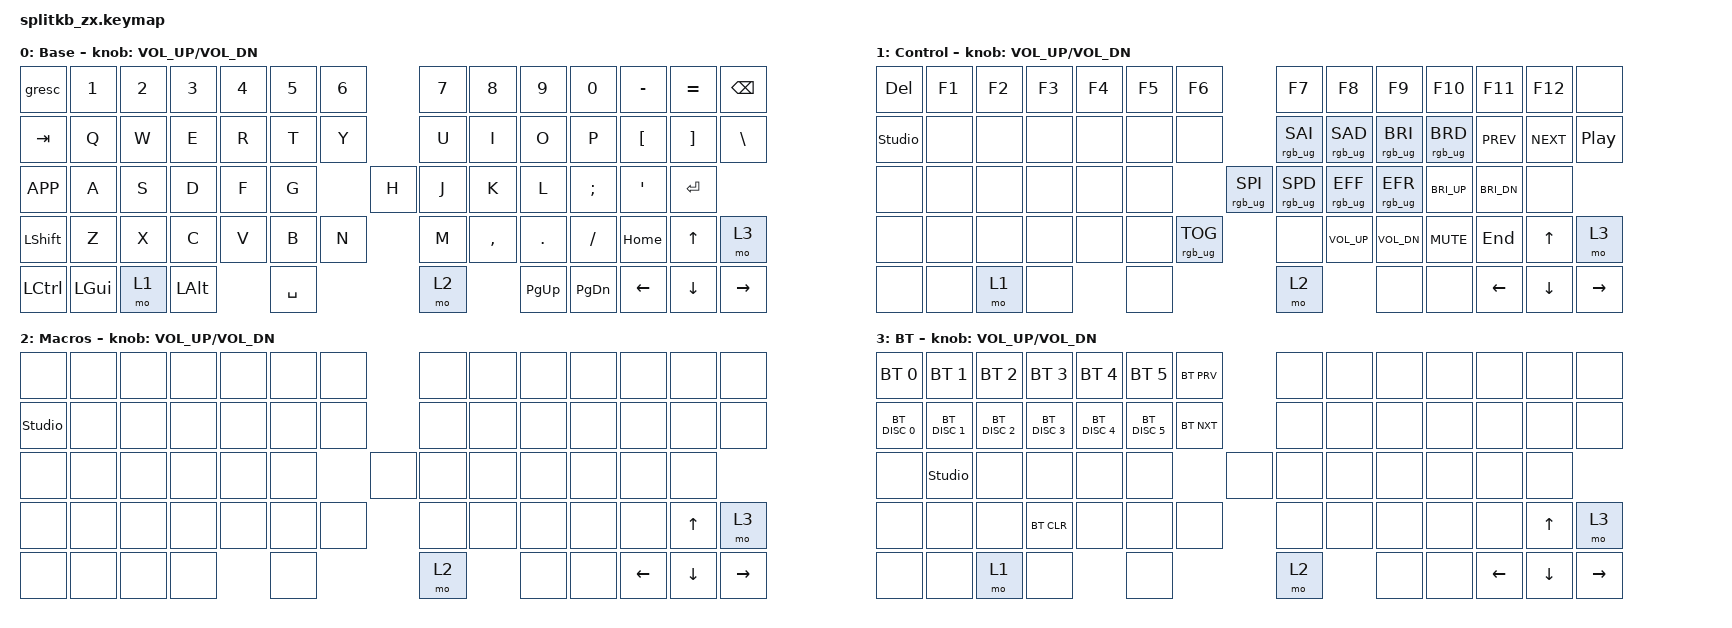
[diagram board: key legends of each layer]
/*
 * Copyright (c) 2022 The ZMK Contributors
 *
 * SPDX-License-Identifier: MIT
 */

#include <behaviors.dtsi>
#include <dt-bindings/zmk/keys.h>
#include <dt-bindings/zmk/bt.h>
#include <dt-bindings/zmk/ext_power.h>
#include <dt-bindings/zmk/rgb.h>

/ {
    keymap {
        compatible = "zmk,keymap";

        default_layer {
            display-name = "Base";
            bindings = <
            &gresc    &kp N1    &kp N2  &kp N3    &kp N4     &kp N5  &kp N6                    &kp N7  &kp N8     &kp N9     &kp N0     &kp MINUS  &kp EQUAL   &kp  BSPC
            &kp TAB   &kp Q     &kp W   &kp E     &kp R      &kp T   &kp Y                     &kp U   &kp I      &kp O      &kp P      &kp LBKT   &kp RBKT    &kp  BSLH
            &kp K_APP &kp A     &kp S   &kp D     &kp F      &kp G                     &kp H   &kp J   &kp K      &kp L      &kp SEMI   &kp SQT    &kp  ENTER
            &kp LSHFT &kp Z     &kp X   &kp C     &kp V      &kp B                     &kp N   &kp M   &kp COMMA  &kp DOT    &kp FSLH   &kp HOME   &kp  UP     &mo 3
            &kp LCTRL &kp LGUI  &mo 1   &kp LALT             &kp SPACE                         &mo 2              &kp PG_UP  &kp PG_DN  &kp LEFT   &kp DOWN    &kp RIGHT
            >;
            
            sensor-bindings = <&inc_dec_kp C_VOL_UP C_VOL_DN>;
        };

        control_layer {
            display-name = "Control";
            bindings = <
            &kp DEL &kp F1  &kp F2  &kp F3  &kp F4  &kp F5  &kp F6                            &kp F7          &kp F8           &kp F9           &kp F10         &kp F11       &kp F12       &none
            &studio_unlock   &none   &none   &none   &none   &none   &none                             &rgb_ug RGB_SAI &rgb_ug RGB_SAD  &rgb_ug RGB_BRI  &rgb_ug RGB_BRD &kp C_PREV    &kp C_NEXT    &kp C_PP
            &none   &none   &none   &none   &none   &none                     &rgb_ug RGB_SPI &rgb_ug RGB_SPD &rgb_ug RGB_EFF  &rgb_ug RGB_EFR  &kp C_BRI_UP    &kp C_BRI_DN  &none
            &none   &none   &none   &none   &none   &none                     &rgb_ug RGB_TOG &none           &kp C_VOL_UP     &kp C_VOL_DN     &kp C_MUTE      &kp END       &kp  UP       &mo 3
            &none   &none   &mo 1   &none           &none                                     &mo 2                            &none            &none           &kp LEFT      &kp DOWN      &kp RIGHT
            >;
            
            sensor-bindings = <&inc_dec_kp C_VOL_UP C_VOL_DN>;
        };

        macros_layer {
            display-name = "Macros";
            bindings = <
            &none  &none  &none  &none   &none  &none   &none                   &none  &none  &none  &none    &none     &none    &none
            &studio_unlock  &none  &none  &none   &none  &none   &none                   &none  &none  &none  &none    &none     &none    &none
            &none  &none  &none  &none   &none  &none                    &none  &none  &none  &none  &none    &none     &none
            &none  &none  &none  &none   &none  &none                    &none  &none  &none  &none  &none    &none     &kp  UP  &mo 3
            &none  &none  &none  &none          &none                           &mo 2         &none  &none    &kp LEFT  &kp DOWN &kp RIGHT
            >;
            
            sensor-bindings = <&inc_dec_kp C_VOL_UP C_VOL_DN>;
        };

        settings_layer {
            display-name = "BT";
            bindings = <
            &bt BT_SEL 0    &bt BT_SEL 1   &bt BT_SEL 2   &bt BT_SEL 3    &bt BT_SEL 4   &bt BT_SEL 5    &bt BT_PRV                     &none  &none  &none  &none    &none     &none     &none
            &bt BT_DISC 0   &bt BT_DISC 1  &bt BT_DISC 2  &bt BT_DISC 3   &bt BT_DISC 4  &bt BT_DISC 5   &bt BT_NXT                     &none  &none  &none  &none    &none     &none     &none
            &none           &studio_unlock &none          &none           &none          &none                                   &none  &none  &none  &none  &none    &none     &none
            &none           &none          &none          &bt BT_CLR      &none          &none                                   &none  &none  &none  &none  &none    &none     &kp  UP   &mo 3
            &none           &none          &mo 1          &none                          &none                                          &mo 2         &none  &none    &kp LEFT  &kp DOWN  &kp RIGHT
            >;
            
            sensor-bindings = <&inc_dec_kp C_VOL_UP C_VOL_DN>;
        };
    };

};
